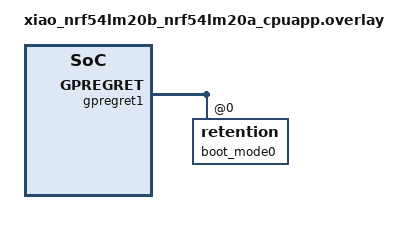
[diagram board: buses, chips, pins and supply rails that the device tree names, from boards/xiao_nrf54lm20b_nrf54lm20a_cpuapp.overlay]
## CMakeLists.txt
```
# SPDX-License-Identifier: Apache-2.0

cmake_minimum_required(VERSION 3.20.0)

find_package(Zephyr REQUIRED HINTS $ENV{ZEPHYR_BASE})
project(xiao_nrf54lm20b_usb_boot_dfu)

target_sources(app PRIVATE src/main.c)
```

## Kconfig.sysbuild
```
# SPDX-License-Identifier: Apache-2.0

config PARTITION_MANAGER
	default n

config MCUBOOT_SIGNATURE_USING_KMU
	default n

config MCUBOOT_GENERATE_DEFAULT_KEY_FILE
	default n

source "share/sysbuild/Kconfig"
```

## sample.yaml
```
sample:
  name: XIAO nRF54LM20B USB boot DFU
common:
  sysbuild: true
  build_only: true
tests:
  sample.xiao_nrf54lm20b.usb_boot_dfu:
    tags:
      - dfu
      - mcuboot
      - usb
    platform_allow:
      - xiao_nrf54lm20b/nrf54lm20a/cpuapp
    integration_platforms:
      - xiao_nrf54lm20b/nrf54lm20a/cpuapp
```

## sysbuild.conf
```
# SPDX-License-Identifier: Apache-2.0

SB_CONFIG_BOOTLOADER_MCUBOOT=y
SB_CONFIG_MCUBOOT_MODE_FIRMWARE_UPDATER=y
SB_CONFIG_FIRMWARE_LOADER_IMAGE_USB_MCUMGR=y
SB_CONFIG_BOOT_SIGNATURE_TYPE_PURE=y
SB_CONFIG_MCUBOOT_SIGNATURE_USING_KMU=n
SB_CONFIG_MCUBOOT_GENERATE_DEFAULT_KEY_FILE=n

SB_CONFIG_MCUBOOT_MODE_FIRMWARE_UPDATER_BOOT_MODE_ENTRANCE=y
```

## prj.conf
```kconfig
# SPDX-License-Identifier: Apache-2.0

CONFIG_BOOTLOADER_MCUBOOT=y

CONFIG_GPIO=y

CONFIG_SERIAL=n
CONFIG_CONSOLE=n
CONFIG_UART_CONSOLE=n
CONFIG_LOG=n
CONFIG_PRINTK=n
CONFIG_USB_DEVICE_STACK_NEXT=n
```

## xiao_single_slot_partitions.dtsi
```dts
/* SPDX-License-Identifier: Apache-2.0 */

/delete-node/ &boot_partition;
/delete-node/ &slot0_partition;
/delete-node/ &slot0_ns_partition;
/delete-node/ &slot1_partition;
/delete-node/ &slot1_ns_partition;
/delete-node/ &storage_partition;

&cpuapp_rram {
	reg = <0x0 DT_SIZE_K(1940)>;
	ranges = <0x0 0x0 DT_SIZE_K(1940)>;

	partitions {
		compatible = "fixed-partitions";
		#address-cells = <1>;
		#size-cells = <1>;

		boot_partition: partition@0 {
			label = "mcuboot";
			reg = <0x0 DT_SIZE_K(28)>;
		};

		slot0_partition: partition@7000 {
			label = "image-0";
			reg = <0x7000 DT_SIZE_K(1780)>;
		};

		slot1_partition: partition@1c4000 {
			label = "image-1";
			reg = <0x1c4000 DT_SIZE_K(116)>;
		};

		storage_partition: partition@1e1000 {
			label = "storage";
			reg = <0x1e1000 DT_SIZE_K(16)>;
		};
	};
};
```

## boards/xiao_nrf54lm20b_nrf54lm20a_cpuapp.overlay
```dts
/* SPDX-License-Identifier: Apache-2.0 */

#include "../xiao_single_slot_partitions.dtsi"

/ {
	chosen {
		zephyr,boot-mode = &boot_mode0;
	};
};

&gpregret1 {
	status = "okay";

	boot_mode0: boot_mode@0 {
		compatible = "zephyr,retention";
		status = "okay";
		reg = <0x0 0x1>;
	};
};
```

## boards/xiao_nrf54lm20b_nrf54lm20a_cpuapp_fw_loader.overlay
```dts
/* SPDX-License-Identifier: Apache-2.0 */

#include "../xiao_single_slot_partitions.dtsi"

/ {
	chosen {
		zephyr,uart-mcumgr = &cdc_acm_uart;
	};
};

&pmic_i2c {
	status = "disabled";
};

&pmic {
	status = "disabled";
};

&pmic_charger {
	status = "disabled";
};

&imu_vdd {
	status = "disabled";
};

&{/pmic-i2c/npm1300@6b/regulators} {
	status = "disabled";
};

&pmic_leds {
	status = "disabled";
};

&i2c22 {
	status = "disabled";
};

&i2c30 {
	status = "disabled";
};

&spi00 {
	status = "disabled";
};

&spi23 {
	status = "disabled";
};

&uart21 {
	status = "disabled";
};

&adc {
	status = "disabled";
};
```

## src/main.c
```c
/*
 * SPDX-License-Identifier: Apache-2.0
 */

#include <zephyr/devicetree.h>
#include <zephyr/drivers/gpio.h>
#include <zephyr/kernel.h>

#define LED_NODE DT_ALIAS(led2)

#if !DT_NODE_HAS_STATUS(LED_NODE, okay) || !DT_NODE_HAS_PROP(LED_NODE, gpios)
#error "Unsupported board: led2 devicetree alias is not defined"
#endif

static const struct gpio_dt_spec led = GPIO_DT_SPEC_GET(LED_NODE, gpios);

int main(void)
{
	if (!gpio_is_ready_dt(&led)) {
		return 0;
	}

	gpio_pin_configure_dt(&led, GPIO_OUTPUT_INACTIVE);

	while (1) {
		gpio_pin_toggle_dt(&led);
		k_msleep(250);
	}

	return 0;
}
```
